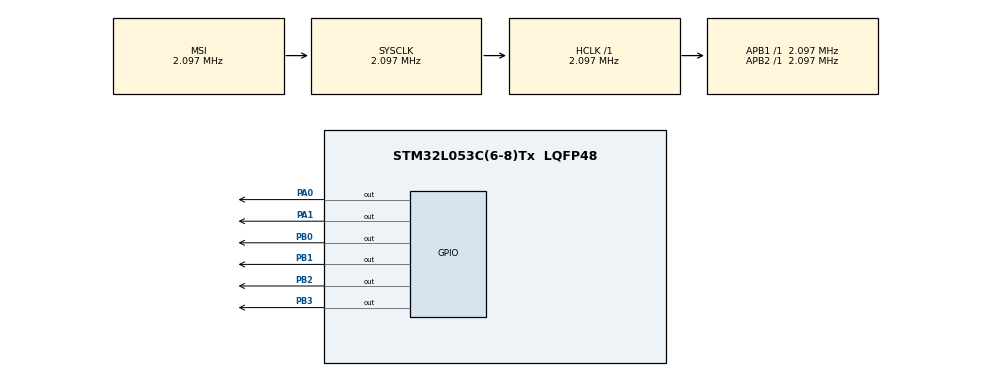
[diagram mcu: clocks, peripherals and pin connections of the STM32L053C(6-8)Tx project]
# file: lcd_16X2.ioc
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Mcu.Family=STM32L0
Mcu.Name=STM32L053C(6-8)Tx
Mcu.Package=LQFP48
PA0.Signal=GPIO_Output
PA1.Signal=GPIO_Output
PB0.Signal=GPIO_Output
PB1.Signal=GPIO_Output
PB2.Signal=GPIO_Output
PB3.Signal=GPIO_Output
ProjectManager.HeapSize=0x200
ProjectManager.StackSize=0x400
ProjectManager.TargetToolchain=STM32CubeIDE
RCC.AHBFreq_Value=2097000
RCC.APB1Freq_Value=2097000
RCC.APB1TimFreq_Value=2097000
RCC.APB2Freq_Value=2097000
RCC.APB2TimFreq_Value=2097000
RCC.HSE_VALUE=8000000
RCC.HSI16_VALUE=16000000
RCC.HSI48_VALUE=48000000
RCC.HSI_VALUE=16000000
RCC.LSE_VALUE=32768
RCC.MSI_VALUE=2097000
RCC.SYSCLKFreq_VALUE=2097000
RCC.VCOOutputFreq_Value=48000000
board=custom

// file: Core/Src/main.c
/* USER CODE BEGIN Header */
/**
  ******************************************************************************
  * @file           : main.c
  * @brief          : Main program body
  ******************************************************************************
  * @attention
  *
  * Copyright (c) 2025 STMicroelectronics.
  * All rights reserved.
  *
  * This software is licensed under terms that can be found in the LICENSE file
  * in the root directory of this software component.
  * If no LICENSE file comes with this software, it is provided AS-IS.
  *
  ******************************************************************************
  */
/* USER CODE END Header */
#include "main.h"

/* USER CODE BEGIN PD */
//#define RS_PIN     0   // PA0
//#define EN_PIN     1   // PA1
//#define D4_PIN     0   // PB0
//#define D5_PIN     1   // PB1
//#define D6_PIN     2   // PB2
//#define D7_PIN     3   // PB3
#define EN_Port GPIOA
#define RS_Port GPIOA
#define RS_Pin GPIO_PIN_0
#define EN_Pin GPIO_PIN_1
#define D_Port GPIOB
#define D4_Pin GPIO_PIN_0
#define D5_Pin GPIO_PIN_1
#define D6_Pin GPIO_PIN_2
#define D7_Pin GPIO_PIN_3
/* USER CODE END PD */

void SystemClock_Config(void);
static void MX_GPIO_Init(void);

/* USER CODE BEGIN 0 */
//static void delay_ms(uint32_t ms)
//{
//    for(uint32_t i = 0; i < ms * 4000; i++) __NOP();
//}
//
//void lcd_pulse_enable(void)
//{
//    GPIOA->ODR |= (1 << EN_PIN);
//    delay_ms(1);
//    GPIOA->ODR &= ~(1 << EN_PIN);
//    delay_ms(1);
//}
//
//void lcd_send_nibble(uint8_t nibble)
//{
//    GPIOB->ODR &= ~(0x0F);                      // clear PB0–PB3
//    GPIOB->ODR |= (nibble & 0x0F);              // set new data
//    lcd_pulse_enable();
//}
//
//void lcd_send_byte(uint8_t data, uint8_t rs)
//{
//    if(rs) GPIOA->ODR |= (1 << RS_PIN);         // RS = 1 for data
//    else   GPIOA->ODR &= ~(1 << RS_PIN);        // RS = 0 for command
//
//    lcd_send_nibble(data >> 4);                 // high nibble
//    lcd_send_nibble(data & 0x0F);               // low nibble
//}
//
//void lcd_command(uint8_t cmd)
//{
//    lcd_send_byte(cmd, 0);
//    delay_ms(2);
//}
//
//void lcd_data(uint8_t data)
//{
//    lcd_send_byte(data, 1);
//    delay_ms(2);
//}
//
//void lcd_init(void)
//{
//    RCC->IOPENR |= (1 << 0) | (1 << 1);         // Enable GPIOA,B clock
//    GPIOA->MODER &= ~((3 << (RS_PIN*2)) | (3 << (EN_PIN*2)));
//    GPIOA->MODER |=  ((1 << (RS_PIN*2)) | (1 << (EN_PIN*2)));
//    GPIOB->MODER &= ~0x000000FF;                // PB0–PB3 as output
//    GPIOB->MODER |=  0x00000055;
//
//    delay_ms(40);
//    lcd_send_nibble(0x03); delay_ms(5);
//    lcd_send_nibble(0x03); delay_ms(5);
//    lcd_send_nibble(0x03); delay_ms(5);
//    lcd_send_nibble(0x02); delay_ms(5);
//
//    lcd_command(0x28); // 4-bit, 2 line
//    lcd_command(0x0C); // Display ON
//    lcd_command(0x06); // Entry mode
//    lcd_command(0x01); // Clear
//    delay_ms(2);
//}

void lcd_send_nibble(uint8_t nibble);
void lcd_send_byte(uint8_t data, uint8_t rs);
void lcd_command(uint8_t cmd);
void lcd_data(uint8_t data);
void lcd_init(void);
void lcd_send_string(char *str);
void lcd_pulse_enable(void);

void SystemClock_Config(void);
static void MX_GPIO_Init(void);

void lcd_pulse_enable(void)
{
  HAL_GPIO_WritePin(EN_Port, EN_Pin, GPIO_PIN_SET);
  HAL_Delay(2);
  HAL_GPIO_WritePin(EN_Port, EN_Pin, GPIO_PIN_RESET);
  HAL_Delay(2);
}

void lcd_send_nibble(uint8_t nibble)
{
  HAL_GPIO_WritePin(D_Port, D4_Pin, (nibble >> 0) & 0x01);
  HAL_GPIO_WritePin(D_Port, D5_Pin, (nibble >> 1) & 0x01);
  HAL_GPIO_WritePin(D_Port, D6_Pin, (nibble >> 2) & 0x01);
  HAL_GPIO_WritePin(D_Port, D7_Pin, (nibble >> 3) & 0x01);
  lcd_pulse_enable();
}

void lcd_send_byte(uint8_t data, uint8_t rs)
{
  HAL_GPIO_WritePin(RS_Port, RS_Pin, rs ? GPIO_PIN_SET : GPIO_PIN_RESET);
  lcd_send_nibble(data >> 4);
  lcd_send_nibble(data & 0x0F);
  HAL_Delay(2);
}

void lcd_command(uint8_t cmd)
{
  lcd_send_byte(cmd, 0);
}

void lcd_data(uint8_t data)
{
  lcd_send_byte(data, 1);
}

void lcd_send_string(char *str)
{
  while (*str) lcd_data(*str++);
}

void lcd_init(void)
{
  HAL_Delay(50);
  lcd_send_nibble(0x03); HAL_Delay(5);
  lcd_send_nibble(0x03); HAL_Delay(5);
  lcd_send_nibble(0x03); HAL_Delay(5);
  lcd_send_nibble(0x02); HAL_Delay(5);

  lcd_command(0x28); // 4-bit, 2-line, 5x8 font
  lcd_command(0x0C); // Display ON, Cursor OFF
  lcd_command(0x06); // Auto-increment cursor
  lcd_command(0x01); // Clear display
  HAL_Delay(2);
}
/* USER CODE END 0 */

int main(void)
{

  /* MCU Configuration--------------------------------------------------------*/

  /* Reset of all peripherals, Initializes the Flash interface and the Systick. */
  HAL_Init();

  /* Configure the system clock */
  SystemClock_Config();

  /* Initialize all configured peripherals */
  MX_GPIO_Init();
  /* USER CODE BEGIN 2 */
//  lcd_init();
//  lcd_data('H');
//  lcd_data('E');
//  lcd_data('L');
//  lcd_data('L');
//  lcd_data('O');
  lcd_init();
    lcd_send_string("HELLO");
  while(1);
  /* USER CODE END 2 */

  /* Infinite loop */
  while (1)
  {

  }
}

void SystemClock_Config(void)
{
  RCC_OscInitTypeDef RCC_OscInitStruct = {0};
  RCC_ClkInitTypeDef RCC_ClkInitStruct = {0};

  /** Configure the main internal regulator output voltage
  */
  __HAL_PWR_VOLTAGESCALING_CONFIG(PWR_REGULATOR_VOLTAGE_SCALE1);

  /** Initializes the RCC Oscillators according to the specified parameters
  * in the RCC_OscInitTypeDef structure.
  */
  RCC_OscInitStruct.OscillatorType = RCC_OSCILLATORTYPE_MSI;
  RCC_OscInitStruct.MSIState = RCC_MSI_ON;
  RCC_OscInitStruct.MSICalibrationValue = 0;
  RCC_OscInitStruct.MSIClockRange = RCC_MSIRANGE_5;
  RCC_OscInitStruct.PLL.PLLState = RCC_PLL_NONE;
  if (HAL_RCC_OscConfig(&RCC_OscInitStruct) != HAL_OK)
  {
    Error_Handler();
  }

  /** Initializes the CPU, AHB and APB buses clocks
  */
  RCC_ClkInitStruct.ClockType = RCC_CLOCKTYPE_HCLK|RCC_CLOCKTYPE_SYSCLK
                              |RCC_CLOCKTYPE_PCLK1|RCC_CLOCKTYPE_PCLK2;
  RCC_ClkInitStruct.SYSCLKSource = RCC_SYSCLKSOURCE_MSI;
  RCC_ClkInitStruct.AHBCLKDivider = RCC_SYSCLK_DIV1;
  RCC_ClkInitStruct.APB1CLKDivider = RCC_HCLK_DIV1;
  RCC_ClkInitStruct.APB2CLKDivider = RCC_HCLK_DIV1;

  if (HAL_RCC_ClockConfig(&RCC_ClkInitStruct, FLASH_LATENCY_0) != HAL_OK)
  {
    Error_Handler();
  }
}

static void MX_GPIO_Init(void)
{
  GPIO_InitTypeDef GPIO_InitStruct = {0};

  /* GPIO Ports Clock Enable */
  __HAL_RCC_GPIOA_CLK_ENABLE();
  __HAL_RCC_GPIOB_CLK_ENABLE();

  /*Configure GPIO pin Output Level */
  HAL_GPIO_WritePin(GPIOA, GPIO_PIN_0|GPIO_PIN_1, GPIO_PIN_RESET);

  /*Configure GPIO pin Output Level */
  HAL_GPIO_WritePin(GPIOB, GPIO_PIN_0|GPIO_PIN_1|GPIO_PIN_2|GPIO_PIN_3, GPIO_PIN_RESET);

  /*Configure GPIO pins : PA0 PA1 */
  GPIO_InitStruct.Pin = GPIO_PIN_0|GPIO_PIN_1;
  GPIO_InitStruct.Mode = GPIO_MODE_OUTPUT_PP;
  GPIO_InitStruct.Pull = GPIO_NOPULL;
  GPIO_InitStruct.Speed = GPIO_SPEED_FREQ_LOW;
  HAL_GPIO_Init(GPIOA, &GPIO_InitStruct);

  /*Configure GPIO pins : PB0 PB1 PB2 PB3 */
  GPIO_InitStruct.Pin = GPIO_PIN_0|GPIO_PIN_1|GPIO_PIN_2|GPIO_PIN_3;
  GPIO_InitStruct.Mode = GPIO_MODE_OUTPUT_PP;
  GPIO_InitStruct.Pull = GPIO_NOPULL;
  GPIO_InitStruct.Speed = GPIO_SPEED_FREQ_LOW;
  HAL_GPIO_Init(GPIOB, &GPIO_InitStruct);

}

void Error_Handler(void)
{
  __disable_irq();
  while (1)
  {
  }
}
